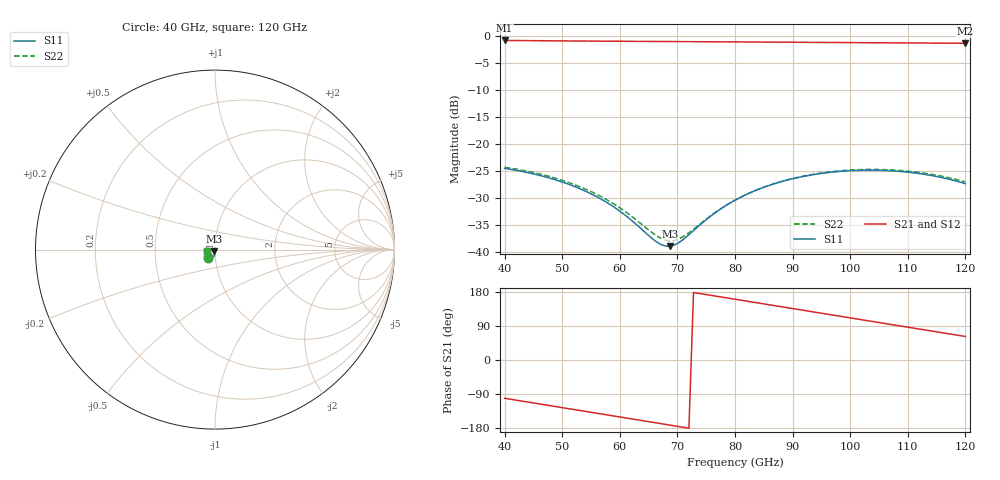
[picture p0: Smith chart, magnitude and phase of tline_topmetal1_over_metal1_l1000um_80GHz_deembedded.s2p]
! Created with skrf 2.2.0 (http://scikit-rf.org).
# GHz S DB R 50.0
! Port[1] = P1
! Port[2] = P2
!freq dBS11 angS11 dBS21 angS21 dBS12 angS12 dBS22 angS22
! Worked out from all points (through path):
!   101 points, 40 GHz to 120 GHz, reference 50 ohm
!   highest |S21| = -0.86 dB at 40 GHz (marker M1); lowest = -1.4 dB at 120 GHz (marker M2)
!   group delay of S21, straight-line fit = 6.84 ps
!   lowest |S11| = -38.9 dB at 68.8 GHz (marker M3), VSWR 1.02, Z = 49.3 - j0.861 ohm
!   |S11| at or under -10 dB: start of sweep to end of sweep
!   |S22| runs from -37.9 to -24.3 dB; largest |S21 - S12| = 1.5e-13
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40  -24.49 -133.9  -0.86 -101.0  -0.86 -101.0  -24.29 -133.1
46.4  -25.87 -150.9  -0.92 -116.8  -0.92 -116.8  -25.61 -149.7
50.4  -27.16 -160.2  -0.95 -126.7  -0.95 -126.7  -26.84 -158.8
53.6  -28.50 -166.6  -0.97 -134.6  -0.97 -134.6  -28.12 -165.0
56.8  -30.20 -171.4  -0.99 -142.5  -0.99 -142.5  -29.74 -169.6
59.2  -31.79 -173.3  -1.01 -148.4  -1.01 -148.4  -31.22 -171.4
63.2  -35.17 -169.6  -1.03 -158.2  -1.03 -158.2  -34.31 -168.1
65.6  -37.44 -158.9  -1.05 -164.1  -1.05 -164.1  -36.36 -158.9
67.2  -38.59 -146.0  -1.06 -168.1  -1.06 -168.1  -37.44 -148.1
68.8  -38.86 -130.0  -1.07 -172.0  -1.07 -172.0  -37.88 -134.2
69.6  -38.60 -122.1  -1.07 -174.0  -1.07 -174.0  -37.77 -127.1
71.2  -37.47 -109.2  -1.08 -177.9  -1.08 -177.9  -36.97 -114.5
76  -33.13 -94.4  -1.11 170.2  -1.11 170.2  -33.07 -97.4
80  -30.38 -95.4  -1.13 160.4  -1.13 160.4  -30.36 -97.1
83.2  -28.74 -99.4  -1.15 152.5  -1.15 152.5  -28.72 -100.3
86.4  -27.48 -104.6  -1.17 144.6  -1.17 144.6  -27.44 -105.0
93.6  -25.65 -118.5  -1.22 126.9  -1.22 126.9  -25.58 -118.1
97.6  -25.11 -126.7  -1.25 117.0  -1.25 117.0  -25.01 -126.1
100.8  -24.88 -133.4  -1.27 109.2  -1.27 109.2  -24.77 -132.5
107.2  -24.95 -146.6  -1.31 93.5  -1.31 93.5  -24.79 -145.2
113.6  -25.72 -159.0  -1.35 77.8  -1.35 77.8  -25.50 -157.1
120  -27.32 -169.7  -1.38 62.1  -1.38 62.1  -27.01 -167.2
